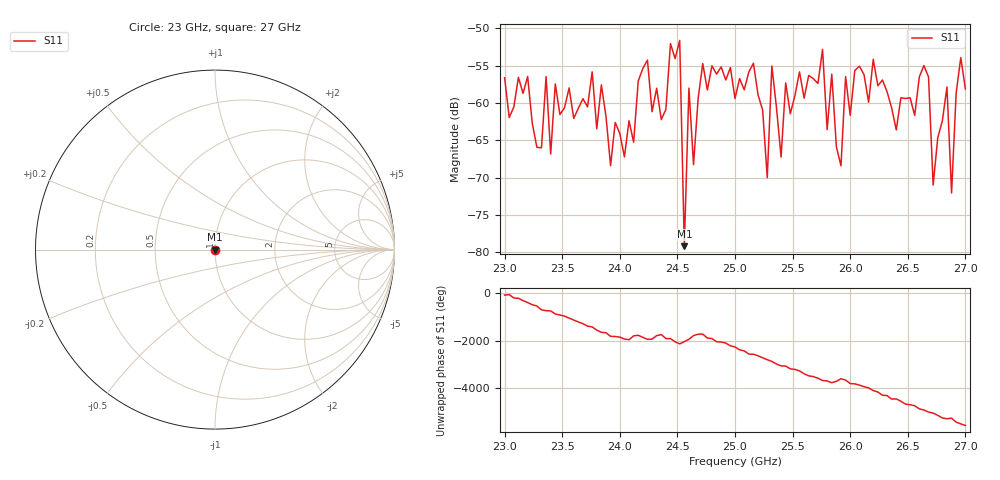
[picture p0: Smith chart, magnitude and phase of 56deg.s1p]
#  HZ  S  RI  R  50.00
! Rohde & Schwarz ZVA40 4Ports - Version 3.90 - 1145.1110k42 SN: 100403
! Date: 2023-09-26 11:11:03
! Measurement: S12
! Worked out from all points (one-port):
!   101 points, 23 GHz to 27 GHz, reference 50 ohm
!   lowest |S11| = -79.2 dB at 24.56 GHz (marker M1), VSWR 1.00, Z = 50 + j0.0098 ohm
!   |S11| at or under -10 dB: start of sweep to end of sweep
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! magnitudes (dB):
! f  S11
! 23 GHz  -56.6
! 23.28 GHz  -65.9
! 23.36 GHz  -56.5
! 23.52 GHz  -60.6
! 24 GHz  -64.1
! 24.52 GHz  -51.6
! 24.56 GHz  -79.2
! 24.6 GHz  -58.0
! 24.64 GHz  -68.3
! 24.72 GHz  -54.7
! 25 GHz  -59.4
! 25.16 GHz  -54.7
! 25.28 GHz  -70.0
! 25.32 GHz  -55.0
! 25.4 GHz  -67.2
! 25.44 GHz  -57.3
! 25.52 GHz  -59.0
! 25.76 GHz  -52.8
! 25.92 GHz  -68.4
! 25.96 GHz  -56.5
! 26 GHz  -61.7
! 26.52 GHz  -59.3
! 26.68 GHz  -56.5
! 26.72 GHz  -71.0
! 26.84 GHz  -57.9
! 26.88 GHz  -72.1
! 26.96 GHz  -53.9
! 27 GHz  -58.1
